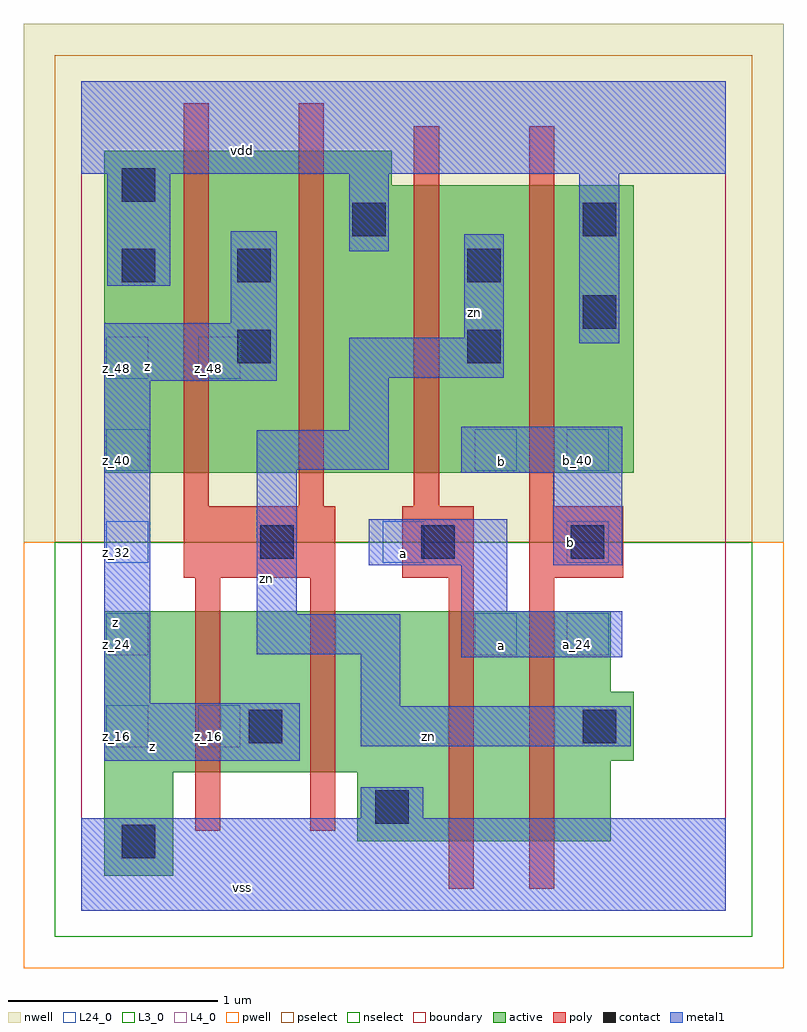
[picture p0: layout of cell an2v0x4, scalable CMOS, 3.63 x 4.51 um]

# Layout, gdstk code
import gdstk
lib = gdstk.Library(unit=1e-6, precision=2.5e-09)
def R(c, l, rs):  # rectangles x0, y0, x1, y1
    for r in rs: c.add(gdstk.rectangle(r[:2], r[2:], *l))
def A(c, l, x, y, w, h, nx, ny, dx, dy):  # array of equal rectangles
    R(c, l, [(x+i*dx, y+j*dy, x+i*dx+w, y+j*dy+h) for i in range(nx) for j in range(ny)])
L3_0 = (3, 0)
L4_0 = (4, 0)
L24_0 = (24, 0)
contact = (25, 0)
pwell = (41, 0)
nwell = (42, 0)
active = (43, 0)
pselect = (44, 0)
nselect = (45, 0)
poly = (46, 0)
metal1 = (49, 0)
boundary = (63, 0)

an2v0x4 = lib.new_cell('an2v0x4')
R(an2v0x4, L3_0, [(0.11,0.165,0.44,0.66), (1.32,0.33,2.53,0.66), (0.11,0.66,2.53,0.715), (0.11,0.715,2.64,1.045), (0.11,1.045,2.53,1.43)])
R(an2v0x4, L4_0, [(0.11,2.09,2.64,3.465), (0.11,3.465,1.485,3.63)])
A(an2v0x4, L24_0, 0.12, 0.78, 0.2, 0.2, 1, 5, 0, 0.44)
A(an2v0x4, L24_0, 2.32, 1.22, 0.2, 0.2, 1, 3, 0, 0.44)
R(an2v0x4, L24_0, [(0.56,0.78,0.76,0.98), (1.88,1.22,2.08,1.42), (1.44,1.66,1.64,1.86), (1.88,2.1,2.08,2.3), (0.56,2.54,0.76,2.74)])
R(an2v0x4, contact, [(0.195,0.25,0.355,0.41), (1.405,0.415,1.565,0.575), (0.8,0.8,0.96,0.96), (2.395,0.8,2.555,0.96), (0.855,1.68,1.015,1.84), (1.625,1.68,1.785,1.84), (2.34,1.68,2.5,1.84), (0.745,2.615,0.905,2.775), (1.845,2.615,2.005,2.775), (2.395,2.78,2.555,2.94), (0.195,3,0.355,3.16), (0.745,3,0.905,3.16), (1.845,3,2.005,3.16), (1.295,3.22,1.455,3.38), (2.395,3.22,2.555,3.38), (0.195,3.385,0.355,3.545)])
R(an2v0x4, pwell, [(-0.275,-0.275,3.355,1.76)])
R(an2v0x4, nwell, [(-0.275,1.76,3.355,4.235)])
R(an2v0x4, active, [(0.11,0.165,0.44,0.66), (1.32,0.33,2.53,0.66), (0.11,0.66,2.53,0.715), (0.11,0.715,2.64,1.045), (0.11,1.045,2.53,1.43), (0.11,2.09,2.64,3.465), (0.11,3.465,1.485,3.63)])
R(an2v0x4, pselect, [(-0.125,1.76,3.205,4.085)])
R(an2v0x4, nselect, [(-0.125,-0.125,3.205,1.76)])
R(an2v0x4, poly, [(1.755,0.105,1.875,1.59), (2.14,0.105,2.26,1.59), (0.545,0.38,0.665,1.59), (1.095,0.38,1.215,1.59), (0.49,1.59,1.215,1.93), (1.535,1.59,1.875,1.93), (2.14,1.59,2.59,1.93), (0.49,1.93,0.61,3.855), (1.04,1.93,1.16,3.855), (1.59,1.93,1.71,3.745), (2.14,1.93,2.26,3.745)])
R(an2v0x4, metal1, [(0,0,3.08,0.44), (1.335,0.44,1.635,0.59), (0.11,0.715,1.045,0.99), (1.335,0.785,2.625,0.975), (1.335,0.975,1.525,1.225), (0.11,0.99,0.33,2.53), (1.815,1.21,2.585,1.43), (0.84,1.225,1.525,1.415), (0.84,1.415,1.03,2.105), (1.815,1.43,2.035,1.65), (1.375,1.65,2.035,1.87), (2.255,1.65,2.585,2.09), (1.815,2.09,2.585,2.31), (0.84,2.105,1.47,2.295), (1.28,2.295,1.47,2.545), (0.11,2.53,0.935,2.805), (1.28,2.545,2.02,2.735), (2.38,2.71,2.57,3.52), (1.83,2.735,2.02,3.23), (0.715,2.805,0.935,3.245), (0.125,2.985,0.425,3.52), (1.28,3.15,1.47,3.52), (0,3.52,3.08,3.96)])
R(an2v0x4, boundary, [(0,0,3.08,3.96)])
an2v0x4.add(gdstk.Label('vss', (0.77,0.11), layer=49, texttype=0))
an2v0x4.add(gdstk.Label('zn', (1.6575,0.8325), layer=49, texttype=0))
an2v0x4.add(gdstk.Label('a', (2.0075,1.265), layer=49, texttype=0))
an2v0x4.add(gdstk.Label('z', (0.3425,0.7825), layer=49, texttype=0))
an2v0x4.add(gdstk.Label('b', (2.3375,1.76), layer=49, texttype=0))
an2v0x4.add(gdstk.Label('a', (1.54,1.705), layer=49, texttype=0))
an2v0x4.add(gdstk.Label('b', (2.0075,2.145), layer=49, texttype=0))
an2v0x4.add(gdstk.Label('zn', (0.8875,1.5875), layer=49, texttype=0))
an2v0x4.add(gdstk.Label('z', (0.165,1.375), layer=49, texttype=0))
an2v0x4.add(gdstk.Label('zn', (1.8775,2.8575), layer=49, texttype=0))
an2v0x4.add(gdstk.Label('z', (0.315,2.5975), layer=49, texttype=0))
an2v0x4.add(gdstk.Label('vdd', (0.77,3.63), layer=49, texttype=0))
an2v0x4.add(gdstk.Label('z_16', (0.61,0.83), layer=24, texttype=0))
an2v0x4.add(gdstk.Label('z_48', (0.61,2.59), layer=24, texttype=0))
an2v0x4.add(gdstk.Label('a_32', (1.49,1.71), layer=24, texttype=0))
an2v0x4.add(gdstk.Label('a_24', (1.93,1.27), layer=24, texttype=0))
an2v0x4.add(gdstk.Label('b_40', (1.93,2.15), layer=24, texttype=0))
an2v0x4.add(gdstk.Label('z_16', (0.17,0.83), layer=24, texttype=0))
an2v0x4.add(gdstk.Label('z_24', (0.17,1.27), layer=24, texttype=0))
an2v0x4.add(gdstk.Label('z_32', (0.17,1.71), layer=24, texttype=0))
an2v0x4.add(gdstk.Label('z_40', (0.17,2.15), layer=24, texttype=0))
an2v0x4.add(gdstk.Label('z_48', (0.17,2.59), layer=24, texttype=0))
an2v0x4.add(gdstk.Label('a_24', (2.37,1.27), layer=24, texttype=0))
an2v0x4.add(gdstk.Label('b_32', (2.37,1.71), layer=24, texttype=0))
an2v0x4.add(gdstk.Label('b_40', (2.37,2.15), layer=24, texttype=0))

lib.write_gds('an2v0x4.gds')
